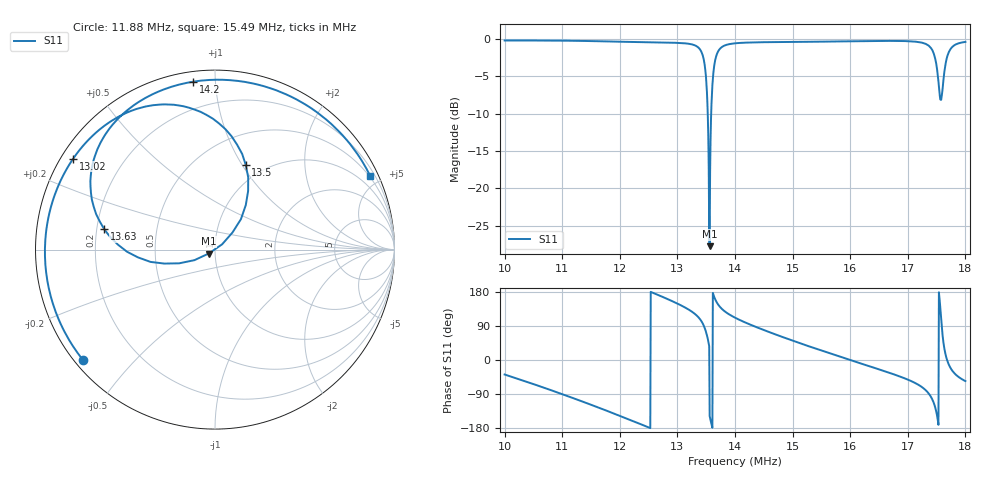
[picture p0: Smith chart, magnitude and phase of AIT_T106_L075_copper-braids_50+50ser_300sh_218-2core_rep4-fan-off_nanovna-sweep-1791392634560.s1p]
! NanoVNA Web complex sweep
! Processing: unaveraged complex samples; linear segment spacing; no smoothing
# Hz S RI R 50
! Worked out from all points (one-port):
!   1010 points, 10 MHz to 18 MHz, reference 50 ohm
!   lowest |S11| = -27.7 dB at 13.56 MHz (marker M1), VSWR 1.09, Z = 46.6 - j2.04 ohm
!   |S11| at or under -10 dB: 13.52666 MHz to 13.58663 MHz (59.97 kHz wide, 0.442 % of centre)
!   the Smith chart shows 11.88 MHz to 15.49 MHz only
!   S11 on the Smith chart (normalised r, x): 11.88 MHz: 0.02, -0.36; 13.02 MHz: 0.03, +0.29; 13.5 MHz: 0.83, +1.04; 13.63 MHz: 0.23, +0.09; 14.2 MHz: 0.05, +0.88; 15.49 MHz: 0.46, +4.43
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1e7  0.7655 -0.6035
1.100698e7  -0.00893 -0.9717
1.187917e7  -0.7359 -0.6147
1.200604e7  -0.8081 -0.5114
1.252935e7  -0.9476 -0.00403
1.300509e7  -0.8008 0.4907
1.302095e7  -0.7902 0.5067
1.338568e7  -0.2801 0.8091
1.350462e7  0.1718 0.4705
1.35284e7  0.1715 0.2478
1.356012e7  -0.0348 -0.0219
1.363148e7  -0.6168 0.113
1.37742e7  -0.6191 0.6285
1.400414e7  -0.341 0.869
1.420237e7  -0.1217 0.9355
1.50032e7  0.6 0.7408
1.54948e7  0.866 0.4074
1.600225e7  0.9615 -0.00424
1.700131e7  0.5965 -0.7575
1.724711e7  0.2974 -0.8942
1.740569e7  -0.1225 -0.8562
1.746912e7  -0.394 -0.6473
1.752462e7  -0.5235 -0.1717
1.760391e7  0.191 0.4192
1.765941e7  0.6747 0.1473
1.771492e7  0.7981 -0.1842
1.783385e7  0.7168 -0.5728
1.800036e7  0.5379 -0.787
